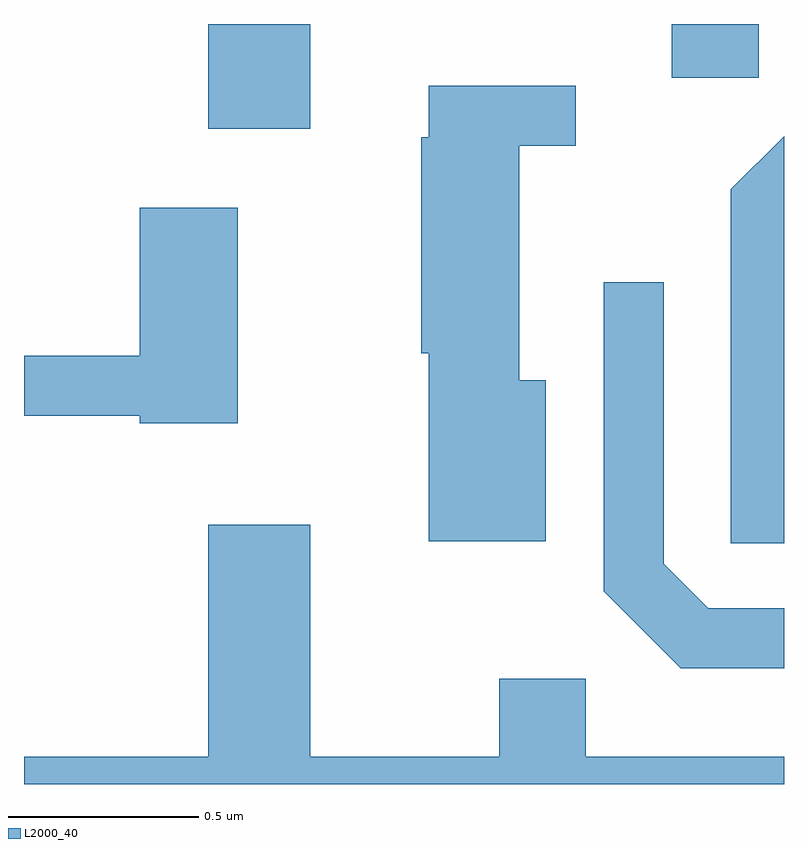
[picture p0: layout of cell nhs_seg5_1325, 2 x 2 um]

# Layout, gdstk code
import gdstk
lib = gdstk.Library(unit=1e-6, precision=1e-09)
def R(c, l, rs):  # rectangles x0, y0, x1, y1
    for r in rs: c.add(gdstk.rectangle(r[:2], r[2:], *l))
def P(c, l, *ps):  # polygons
    for p in ps: c.add(gdstk.Polygon(p, *l))
L2000_40 = (2000, 40)

nhs_seg5_1325 = lib.new_cell('nhs_seg5_1325')
R(nhs_seg5_1325, L2000_40, [(195.096,1489.796,195.364,1490.072), (196.316,1489.931,196.544,1490.072)])
P(nhs_seg5_1325, L2000_40, [(195.984,1489.134),(195.914,1489.134),(195.914,1489.751),(196.063,1489.751),(196.063,1489.909),(195.676,1489.909),(195.676,1489.774),(195.656,1489.774),(195.656,1489.206),(195.676,1489.206),(195.676,1488.711),(195.984,1488.711)],
  [(196.611,1489.777),(196.471,1489.637),(196.471,1488.706),(196.611,1488.706)],
  [(195.174,1489.589),(194.916,1489.589),(194.916,1489.199),(194.611,1489.199),(194.611,1489.041),(194.916,1489.041),(194.916,1489.021),(195.174,1489.021)],
  [(196.611,1488.534),(196.412,1488.534),(196.294,1488.652),(196.294,1489.393),(196.136,1489.393),(196.136,1488.579),(196.339,1488.376),(196.611,1488.376)],
  [(196.611,1488.144),(196.089,1488.144),(196.089,1488.349),(195.861,1488.349),(195.861,1488.144),(195.364,1488.144),(195.364,1488.754),(195.096,1488.754),(195.096,1488.144),(194.611,1488.144),(194.611,1488.072),(196.611,1488.072)])

lib.write_gds('nhs_seg5_1325.gds')
